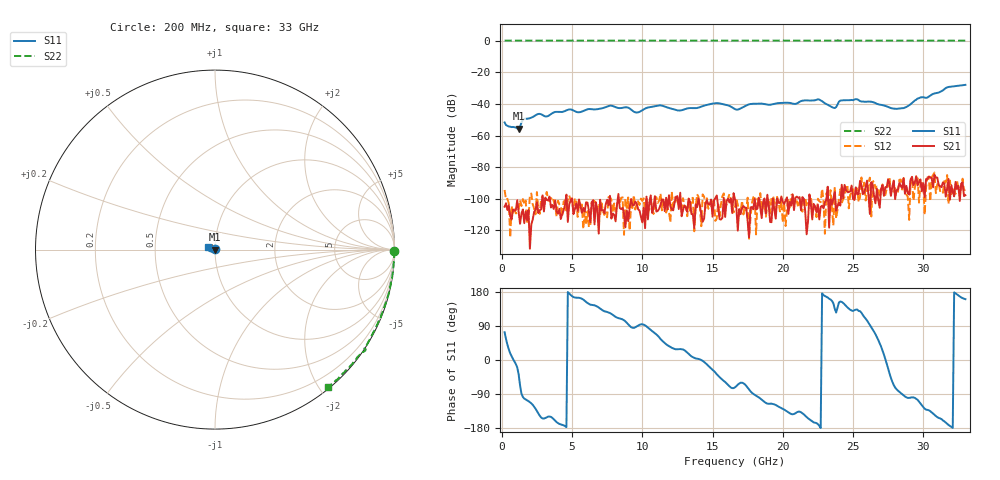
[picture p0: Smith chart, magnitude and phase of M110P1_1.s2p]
# GHZ S RI R 50
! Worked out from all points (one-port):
!   329 points, 200 MHz to 33 GHz, reference 50 ohm
!   lowest |S11| = -55.7 dB at 1.2 GHz (marker M1), VSWR 1.00, Z = 50.1 - j0.102 ohm
!   |S11| at or under -10 dB: start of sweep to end of sweep
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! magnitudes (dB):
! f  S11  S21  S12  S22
! 200 MHz  -51.7  -105.0  -94.4  0.0
! 1.2 GHz  -55.7  -108.1  -106.4  0.0
! 1.5 GHz  -50.1  -106.7  -100.1  0.0
! 2.6 GHz  -46.3  -109.0  -107.3  0.0
! 3.2 GHz  -47.9  -100.8  -95.6  0.0
! 5.7 GHz  -44.9  -108.8  -103.6  0.0
! 7.8 GHz  -41.1  -112.5  -100.6  0.0
! 9.6 GHz  -45.5  -102.9  -103.0  0.0
! 11.2 GHz  -41.0  -106.3  -101.1  0.0
! 12.7 GHz  -44.2  -96.2  -100.1  0.0
! 15.3 GHz  -39.5  -97.9  -112.5  0.0
! 16.6 GHz  -43.3  -100.2  -105.0  0.0
! 17.7 GHz  -40.1  -105.4  -112.6  0.0
! 22.1 GHz  -37.8  -113.0  -105.8  0.0
! 22.6 GHz  -37.3  -113.0  -101.5  0.0
! 23.7 GHz  -42.6  -95.8  -92.6  0.0
! 24.1 GHz  -37.9  -104.2  -94.0  0.0
! 25.2 GHz  -37.0  -92.8  -93.0  0.0
! 27.6 GHz  -42.3  -90.6  -86.5  0.0
! 28.6 GHz  -42.7  -86.9  -87.1  -0.1
! 31.7 GHz  -29.6  -93.5  -85.0  -0.1
! 33 GHz  -28.0  -97.7  -94.3  -0.1
